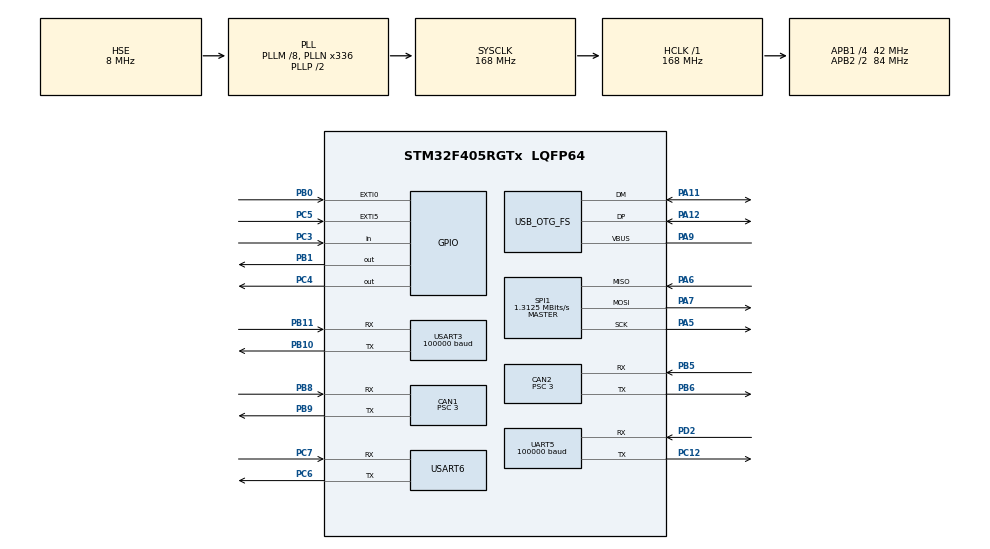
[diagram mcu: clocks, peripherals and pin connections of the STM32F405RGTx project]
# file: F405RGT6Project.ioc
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CAN1.BS1=CAN_BS1_11TQ
CAN1.BS2=CAN_BS2_2TQ
CAN1.CalculateBaudRate=1000000
CAN1.CalculateTimeBit=1000
CAN1.CalculateTimeQuantum=71.42857142857143
CAN1.Prescaler=3
CAN2.BS1=CAN_BS1_11TQ
CAN2.BS2=CAN_BS2_2TQ
CAN2.CalculateBaudRate=1000000
CAN2.CalculateTimeBit=1000
CAN2.CalculateTimeQuantum=71.42857142857143
CAN2.Prescaler=3
Dma.Request0=SPI1_RX
Dma.Request1=SPI1_TX
Dma.Request2=USART6_RX
Dma.Request3=USART6_TX
Dma.Request4=UART5_RX
Dma.Request5=USART3_RX
Dma.Request6=USART3_TX
Dma.SPI1_RX.0.Direction=DMA_PERIPH_TO_MEMORY
Dma.SPI1_RX.0.FIFOMode=DMA_FIFOMODE_DISABLE
Dma.SPI1_RX.0.Instance=DMA2_Stream0
Dma.SPI1_RX.0.MemDataAlignment=DMA_MDATAALIGN_BYTE
Dma.SPI1_RX.0.MemInc=DMA_MINC_ENABLE
Dma.SPI1_RX.0.Mode=DMA_NORMAL
Dma.SPI1_RX.0.PeriphDataAlignment=DMA_PDATAALIGN_BYTE
Dma.SPI1_RX.0.PeriphInc=DMA_PINC_DISABLE
Dma.SPI1_RX.0.Priority=DMA_PRIORITY_LOW
Dma.SPI1_TX.1.Direction=DMA_MEMORY_TO_PERIPH
Dma.SPI1_TX.1.FIFOMode=DMA_FIFOMODE_DISABLE
Dma.SPI1_TX.1.Instance=DMA2_Stream3
Dma.SPI1_TX.1.MemDataAlignment=DMA_MDATAALIGN_BYTE
Dma.SPI1_TX.1.MemInc=DMA_MINC_ENABLE
Dma.SPI1_TX.1.Mode=DMA_NORMAL
Dma.SPI1_TX.1.PeriphDataAlignment=DMA_PDATAALIGN_BYTE
Dma.SPI1_TX.1.PeriphInc=DMA_PINC_DISABLE
Dma.SPI1_TX.1.Priority=DMA_PRIORITY_LOW
Dma.UART5_RX.4.Direction=DMA_PERIPH_TO_MEMORY
Dma.UART5_RX.4.FIFOMode=DMA_FIFOMODE_DISABLE
Dma.UART5_RX.4.Instance=DMA1_Stream0
Dma.UART5_RX.4.MemDataAlignment=DMA_MDATAALIGN_BYTE
Dma.UART5_RX.4.MemInc=DMA_MINC_ENABLE
Dma.UART5_RX.4.Mode=DMA_NORMAL
Dma.UART5_RX.4.PeriphDataAlignment=DMA_PDATAALIGN_BYTE
Dma.UART5_RX.4.PeriphInc=DMA_PINC_DISABLE
Dma.UART5_RX.4.Priority=DMA_PRIORITY_LOW
Dma.USART3_RX.5.Direction=DMA_PERIPH_TO_MEMORY
Dma.USART3_RX.5.FIFOMode=DMA_FIFOMODE_DISABLE
Dma.USART3_RX.5.Instance=DMA1_Stream1
Dma.USART3_RX.5.MemDataAlignment=DMA_MDATAALIGN_BYTE
Dma.USART3_RX.5.MemInc=DMA_MINC_ENABLE
Dma.USART3_RX.5.Mode=DMA_NORMAL
Dma.USART3_RX.5.PeriphDataAlignment=DMA_PDATAALIGN_BYTE
Dma.USART3_RX.5.PeriphInc=DMA_PINC_DISABLE
Dma.USART3_RX.5.Priority=DMA_PRIORITY_LOW
Dma.USART3_TX.6.Direction=DMA_MEMORY_TO_PERIPH
Dma.USART3_TX.6.FIFOMode=DMA_FIFOMODE_DISABLE
Dma.USART3_TX.6.Instance=DMA1_Stream3
Dma.USART3_TX.6.MemDataAlignment=DMA_MDATAALIGN_BYTE
Dma.USART3_TX.6.MemInc=DMA_MINC_ENABLE
Dma.USART3_TX.6.Mode=DMA_NORMAL
Dma.USART3_TX.6.PeriphDataAlignment=DMA_PDATAALIGN_BYTE
Dma.USART3_TX.6.PeriphInc=DMA_PINC_DISABLE
Dma.USART3_TX.6.Priority=DMA_PRIORITY_LOW
Dma.USART6_RX.2.Direction=DMA_PERIPH_TO_MEMORY
Dma.USART6_RX.2.FIFOMode=DMA_FIFOMODE_DISABLE
Dma.USART6_RX.2.Instance=DMA2_Stream1
Dma.USART6_RX.2.MemDataAlignment=DMA_MDATAALIGN_BYTE
Dma.USART6_RX.2.MemInc=DMA_MINC_ENABLE
Dma.USART6_RX.2.Mode=DMA_NORMAL
Dma.USART6_RX.2.PeriphDataAlignment=DMA_PDATAALIGN_BYTE
Dma.USART6_RX.2.PeriphInc=DMA_PINC_DISABLE
Dma.USART6_RX.2.Priority=DMA_PRIORITY_LOW
Dma.USART6_TX.3.Direction=DMA_MEMORY_TO_PERIPH
Dma.USART6_TX.3.FIFOMode=DMA_FIFOMODE_DISABLE
Dma.USART6_TX.3.Instance=DMA2_Stream6
Dma.USART6_TX.3.MemDataAlignment=DMA_MDATAALIGN_BYTE
Dma.USART6_TX.3.MemInc=DMA_MINC_ENABLE
Dma.USART6_TX.3.Mode=DMA_NORMAL
Dma.USART6_TX.3.PeriphDataAlignment=DMA_PDATAALIGN_BYTE
Dma.USART6_TX.3.PeriphInc=DMA_PINC_DISABLE
Dma.USART6_TX.3.Priority=DMA_PRIORITY_LOW
FREERTOS.Tasks01=InitTask,55,1024,StartInitTask,As weak,NULL,Dynamic,NULL,NULL;main_Task_1khz,54,1024,main_Task_1ms,As weak,NULL,Dynamic,NULL,NULL;Data_ptintf,52,512,Data_ptintf_task,As weak,NULL,Dynamic,NULL,NULL
FREERTOS.configGENERATE_RUN_TIME_STATS=1
FREERTOS.configRECORD_STACK_HIGH_ADDRESS=1
FREERTOS.configTOTAL_HEAP_SIZE=32768
Mcu.Family=STM32F4
Mcu.Name=STM32F405RGTx
Mcu.Package=LQFP64
NVIC.CAN1_RX0_IRQn=true\:5\:0\:false\:false\:true\:true\:true\:true\:true
NVIC.CAN1_RX1_IRQn=true\:5\:0\:false\:false\:true\:true\:true\:true\:true
NVIC.CAN1_SCE_IRQn=true\:5\:0\:false\:false\:true\:true\:true\:true\:true
NVIC.CAN1_TX_IRQn=true\:5\:0\:false\:false\:true\:true\:true\:true\:true
NVIC.CAN2_RX0_IRQn=true\:5\:0\:false\:false\:true\:true\:true\:true\:true
NVIC.CAN2_RX1_IRQn=true\:5\:0\:false\:false\:true\:true\:true\:true\:true
NVIC.CAN2_SCE_IRQn=true\:5\:0\:false\:false\:true\:true\:true\:true\:true
NVIC.CAN2_TX_IRQn=true\:5\:0\:false\:false\:true\:true\:true\:true\:true
NVIC.DMA1_Stream0_IRQn=true\:5\:0\:false\:false\:true\:true\:false\:true\:true
NVIC.DMA1_Stream1_IRQn=true\:5\:0\:false\:false\:true\:true\:false\:true\:true
NVIC.DMA1_Stream3_IRQn=true\:5\:0\:false\:false\:true\:true\:false\:true\:true
NVIC.DMA2_Stream0_IRQn=true\:5\:0\:false\:false\:true\:true\:false\:true\:true
NVIC.DMA2_Stream1_IRQn=true\:5\:0\:false\:false\:true\:true\:false\:true\:true
NVIC.DMA2_Stream3_IRQn=true\:5\:0\:false\:false\:true\:true\:false\:true\:true
NVIC.DMA2_Stream6_IRQn=true\:5\:0\:false\:false\:true\:true\:false\:true\:true
NVIC.EXTI0_IRQn=true\:5\:0\:false\:false\:true\:true\:true\:true\:true
NVIC.EXTI9_5_IRQn=true\:5\:0\:false\:false\:true\:true\:true\:true\:true
NVIC.OTG_FS_IRQn=true\:5\:0\:false\:false\:true\:true\:true\:true\:true
NVIC.PriorityGroup=NVIC_PRIORITYGROUP_4
NVIC.RCC_IRQn=true\:5\:0\:false\:false\:true\:true\:true\:false\:true
NVIC.SPI1_IRQn=true\:5\:0\:false\:false\:true\:true\:true\:true\:true
NVIC.TIM6_DAC_IRQn=true\:15\:0\:false\:false\:true\:false\:false\:true\:true
NVIC.TimeBase=TIM6_DAC_IRQn
NVIC.TimeBaseIP=TIM6
NVIC.UART5_IRQn=true\:5\:0\:false\:false\:true\:true\:true\:true\:true
NVIC.USART3_IRQn=true\:5\:0\:false\:false\:true\:true\:true\:true\:true
NVIC.USART6_IRQn=true\:5\:0\:false\:false\:true\:true\:true\:true\:true
PA11.Mode=Host_Only
PA11.Signal=USB_OTG_FS_DM
PA12.Mode=Host_Only
PA12.Signal=USB_OTG_FS_DP
PA13.Mode=Serial_Wire
PA13.Signal=SYS_JTMS-SWDIO
PA14.Mode=Serial_Wire
PA14.Signal=SYS_JTCK-SWCLK
PA5.Mode=Full_Duplex_Master
PA5.Signal=SPI1_SCK
PA6.Mode=Full_Duplex_Master
PA6.Signal=SPI1_MISO
PA7.Mode=Full_Duplex_Master
PA7.Signal=SPI1_MOSI
PA9.Mode=Activate_VBUS
PA9.Signal=USB_OTG_FS_VBUS
PB0.Signal=GPXTI0
PB1.PinState=GPIO_PIN_SET
PB1.Signal=GPIO_Output
PB10.Mode=Asynchronous
PB10.Signal=USART3_TX
PB11.Mode=Asynchronous
PB11.Signal=USART3_RX
PB5.Mode=CAN_Activate
PB5.Signal=CAN2_RX
PB6.Mode=CAN_Activate
PB6.Signal=CAN2_TX
PB7.Signal=USART1_RX
PB8.Mode=CAN_Activate
PB8.Signal=CAN1_RX
PB9.Mode=CAN_Activate
PB9.Signal=CAN1_TX
PC12.Mode=Asynchronous
PC12.Signal=UART5_TX
PC3.GPIO_PuPd=GPIO_NOPULL
PC3.Signal=GPIO_Input
PC4.PinState=GPIO_PIN_SET
PC4.Signal=GPIO_Output
PC5.Signal=GPXTI5
PC6.Mode=Asynchronous
PC6.Signal=USART6_TX
PC7.Mode=Asynchronous
PC7.Signal=USART6_RX
PC8.Signal=S_TIM3_CH3
PD2.Mode=Asynchronous
PD2.Signal=UART5_RX
PH0-OSC_IN.Mode=HSE-External-Oscillator
PH0-OSC_IN.Signal=RCC_OSC_IN
PH1-OSC_OUT.Mode=HSE-External-Oscillator
PH1-OSC_OUT.Signal=RCC_OSC_OUT
ProjectManager.HeapSize=0x4000
ProjectManager.StackSize=0x4000
ProjectManager.TargetToolchain=CMake
RCC.48MHZClocksFreq_Value=48000000
RCC.AHBFreq_Value=168000000
RCC.APB1CLKDivider=RCC_HCLK_DIV4
RCC.APB1Freq_Value=42000000
RCC.APB1TimFreq_Value=84000000
RCC.APB2CLKDivider=RCC_HCLK_DIV2
RCC.APB2Freq_Value=84000000
RCC.APB2TimFreq_Value=168000000
RCC.CortexFreq_Value=168000000
RCC.HCLKFreq_Value=168000000
RCC.HSE_VALUE=8000000
RCC.HSI_VALUE=16000000
RCC.LSE_VALUE=32768
RCC.PLLM=8
RCC.PLLN=336
RCC.PLLQ=7
RCC.SYSCLKFreq_VALUE=168000000
RCC.SYSCLKSource=RCC_SYSCLKSOURCE_PLLCLK
RCC.VCOOutputFreq_Value=336000000
SH.S_TIM3_CH3.0=TIM3_CH3
SPI1.BaudRatePrescaler=SPI_BAUDRATEPRESCALER_64
SPI1.CalculateBaudRate=1.3125 MBits/s
SPI1.Direction=SPI_DIRECTION_2LINES
SPI1.Mode=SPI_MODE_MASTER
SPI1.VirtualType=VM_MASTER
UART5.BaudRate=100000
UART5.Parity=PARITY_EVEN
UART5.VirtualMode=Asynchronous
USART3.BaudRate=100000
USART3.Parity=PARITY_EVEN
USART3.VirtualMode=VM_ASYNC
USART3.WordLength=WORDLENGTH_9B
USART6.VirtualMode=VM_ASYNC
USB_HOST.USBH_DEBUG_LEVEL-HID_FS=2
USB_HOST.USBH_HandleTypeDef-HID_FS=hUsbHostFS
USB_HOST.USBH_PROCESS_STACK_SIZE-HID_FS=2048
USB_HOST.VirtualModeFS=Hid
USB_OTG_FS.VirtualMode=Host_Only
USB_OTG_FS.phy_itface=HCD_PHY_EMBEDDED
VP_FREERTOS_VS_CMSIS_V2.Mode=CMSIS_V2
VP_SYS_VS_tim6.Mode=TIM6
VP_USB_HOST_VS_USB_HOST_HID_FS.Mode=HID_FS
board=custom

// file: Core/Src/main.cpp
/* USER CODE BEGIN Header */
/**
  ******************************************************************************
  * @file           : main.cpp
  * @brief          : Main program body
  ******************************************************************************
  * @attention
  *
  * Copyright (c) 2026 STMicroelectronics.
  * All rights reserved.
  *
  * This software is licensed under terms that can be found in the LICENSE file
  * in the root directory of this software component.
  * If no LICENSE file comes with this software, it is provided AS-IS.
  *
  ******************************************************************************
  */
/* USER CODE END Header */
#include "main.h"
#include "cmsis_os.h"
#include "can.h"
#include "dma.h"
#include "spi.h"
#include "usart.h"
#include "usb_host.h"
#include "gpio.h"

/* USER CODE BEGIN Includes */
#include "Chassis_Task.h"
#include "Serial.h"
#include "mx_api.h"

#include <sys/unistd.h>
#include <stdint.h>
#include "Serial.h"

/* USER CODE END Includes */

void SystemClock_Config(void);
void MX_FREERTOS_Init(void);

/* USER CODE BEGIN 0 */

extern "C" int _write(int file, char *ptr, int len)
{
    (void)file;

    if (ptr == NULL || len <= 0)
    {
        return 0;
    }

    Serial_Send_Data((const uint8_t *)ptr, (uint16_t)len);
    return len;
}

/**
 * @brief USB FS D+ 虚拟拔插
 *
 */
static void USB_FS_ReEnumerate(void)
{
    GPIO_InitTypeDef GPIO_InitStruct = {0};

    __HAL_RCC_GPIOA_CLK_ENABLE();

    /* 1. 临时把 PA12 当普通 GPIO 输出 */
    HAL_GPIO_DeInit(GPIOA, GPIO_PIN_12);
    GPIO_InitStruct.Pin = GPIO_PIN_12;
    GPIO_InitStruct.Mode = GPIO_MODE_OUTPUT_PP;
    GPIO_InitStruct.Pull = GPIO_NOPULL;
    GPIO_InitStruct.Speed = GPIO_SPEED_FREQ_LOW;
    HAL_GPIO_Init(GPIOA, &GPIO_InitStruct);

    /* 2. 强制拉低 D+，模拟设备断开 */
    HAL_GPIO_WritePin(GPIOA, GPIO_PIN_12, GPIO_PIN_RESET);
    HAL_Delay(20);   // 20~65ms 都有人用，按实际测试调

    /* 3. 释放这个引脚，后面交给 USB 外设重新初始化 */
    HAL_GPIO_DeInit(GPIOA, GPIO_PIN_12);
}
/* USER CODE END 0 */

int main(void)
{

  /* MCU Configuration--------------------------------------------------------*/

  /* Reset of all peripherals, Initializes the Flash interface and the Systick. */
  HAL_Init();

  /* Configure the system clock */
  SystemClock_Config();

  /* Initialize all configured peripherals */
  MX_GPIO_Init();
  MX_DMA_Init();
  MX_SPI1_Init();
  MX_USART6_UART_Init();
  MX_CAN1_Init();
  MX_CAN2_Init();
  MX_UART5_Init();
  MX_USART3_UART_Init();
  /* USER CODE BEGIN 2 */
  USB_FS_ReEnumerate();
  /* USER CODE END 2 */

  /* Init scheduler */
  osKernelInitialize();  /* Call init function for freertos objects (in cmsis_os2.c) */
  MX_FREERTOS_Init();

  /* Start scheduler */
  osKernelStart();

  /* We should never get here as control is now taken by the scheduler */

  /* Infinite loop */
  while (1)
  {

  }
}

void SystemClock_Config(void)
{
  RCC_OscInitTypeDef RCC_OscInitStruct = {0};
  RCC_ClkInitTypeDef RCC_ClkInitStruct = {0};

  /** Configure the main internal regulator output voltage
  */
  __HAL_RCC_PWR_CLK_ENABLE();
  __HAL_PWR_VOLTAGESCALING_CONFIG(PWR_REGULATOR_VOLTAGE_SCALE1);

  /** Initializes the RCC Oscillators according to the specified parameters
  * in the RCC_OscInitTypeDef structure.
  */
  RCC_OscInitStruct.OscillatorType = RCC_OSCILLATORTYPE_HSE;
  RCC_OscInitStruct.HSEState = RCC_HSE_ON;
  RCC_OscInitStruct.PLL.PLLState = RCC_PLL_ON;
  RCC_OscInitStruct.PLL.PLLSource = RCC_PLLSOURCE_HSE;
  RCC_OscInitStruct.PLL.PLLM = 8;
  RCC_OscInitStruct.PLL.PLLN = 336;
  RCC_OscInitStruct.PLL.PLLP = RCC_PLLP_DIV2;
  RCC_OscInitStruct.PLL.PLLQ = 7;
  if (HAL_RCC_OscConfig(&RCC_OscInitStruct) != HAL_OK)
  {
    Error_Handler();
  }

  /** Initializes the CPU, AHB and APB buses clocks
  */
  RCC_ClkInitStruct.ClockType = RCC_CLOCKTYPE_HCLK|RCC_CLOCKTYPE_SYSCLK
                              |RCC_CLOCKTYPE_PCLK1|RCC_CLOCKTYPE_PCLK2;
  RCC_ClkInitStruct.SYSCLKSource = RCC_SYSCLKSOURCE_PLLCLK;
  RCC_ClkInitStruct.AHBCLKDivider = RCC_SYSCLK_DIV1;
  RCC_ClkInitStruct.APB1CLKDivider = RCC_HCLK_DIV4;
  RCC_ClkInitStruct.APB2CLKDivider = RCC_HCLK_DIV2;

  if (HAL_RCC_ClockConfig(&RCC_ClkInitStruct, FLASH_LATENCY_5) != HAL_OK)
  {
    Error_Handler();
  }
}

void HAL_TIM_PeriodElapsedCallback(TIM_HandleTypeDef *htim)
{
  if (htim->Instance == TIM6)
  {
    HAL_IncTick();
  }
}

void Error_Handler(void)
{
  __disable_irq();
  while (1)
  {
  }
}

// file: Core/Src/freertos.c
/* USER CODE BEGIN Header */
/**
  ******************************************************************************
  * File Name          : freertos.c
  * Description        : Code for freertos applications
  ******************************************************************************
  * @attention
  *
  * Copyright (c) 2026 STMicroelectronics.
  * All rights reserved.
  *
  * This software is licensed under terms that can be found in the LICENSE file
  * in the root directory of this software component.
  * If no LICENSE file comes with this software, it is provided AS-IS.
  *
  ******************************************************************************
  */
/* USER CODE END Header */

#include "FreeRTOS.h"
#include "task.h"
#include "main.h"
#include "cmsis_os.h"

/* Definitions for InitTask */
osThreadId_t InitTaskHandle;
const osThreadAttr_t InitTask_attributes = {
  .name = "InitTask",
  .stack_size = 1024 * 4,
  .priority = (osPriority_t) osPriorityRealtime7,
};
/* Definitions for main_Task_1khz */
osThreadId_t main_Task_1khzHandle;
const osThreadAttr_t main_Task_1khz_attributes = {
  .name = "main_Task_1khz",
  .stack_size = 1024 * 4,
  .priority = (osPriority_t) osPriorityRealtime6,
};
/* Definitions for Data_ptintf */
osThreadId_t Data_ptintfHandle;
const osThreadAttr_t Data_ptintf_attributes = {
  .name = "Data_ptintf",
  .stack_size = 512 * 4,
  .priority = (osPriority_t) osPriorityRealtime4,
};

void StartInitTask(void *argument);
void main_Task_1ms(void *argument);
void Data_ptintf_task(void *argument);

extern void MX_USB_HOST_Init(void);
void MX_FREERTOS_Init(void); /* (MISRA C 2004 rule 8.1) */

/* Hook prototypes */
void configureTimerForRunTimeStats(void);
unsigned long getRunTimeCounterValue(void);

/* USER CODE BEGIN 1 */
/* Functions needed when configGENERATE_RUN_TIME_STATS is on */
__weak void configureTimerForRunTimeStats(void)
{

}

__weak unsigned long getRunTimeCounterValue(void)
{
return 0;
}
/* USER CODE END 1 */

void MX_FREERTOS_Init(void) {

  /* Create the thread(s) */
  /* creation of InitTask */
  InitTaskHandle = osThreadNew(StartInitTask, NULL, &InitTask_attributes);

  /* creation of main_Task_1khz */
  main_Task_1khzHandle = osThreadNew(main_Task_1ms, NULL, &main_Task_1khz_attributes);

  /* creation of Data_ptintf */
  Data_ptintfHandle = osThreadNew(Data_ptintf_task, NULL, &Data_ptintf_attributes);

}

__weak void StartInitTask(void *argument)
{
  /* init code for USB_HOST */
  MX_USB_HOST_Init();
  for(;;)
  {
    osDelay(1);
  }
}

__weak void main_Task_1ms(void *argument)
{
  for(;;)
  {
    osDelay(1);
  }
}

__weak void Data_ptintf_task(void *argument)
{
  for(;;)
  {
    osDelay(1);
  }
}
